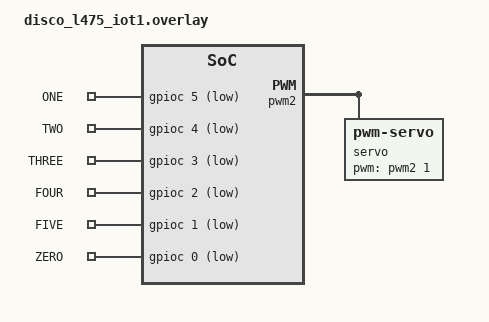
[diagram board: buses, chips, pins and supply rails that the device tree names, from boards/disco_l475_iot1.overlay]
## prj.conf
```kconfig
CONFIG_STDOUT_CONSOLE=y
CONFIG_PRINTK=y
CONFIG_PWM=y
CONFIG_GPIO=y
```

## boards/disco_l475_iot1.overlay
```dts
/* Define a PWM servo device using pwm2 channel 1 */
&pwm2 {
    servo: servo {
        compatible = "pwm-servo";
        pwms = <&pwm2 1 PWM_MSEC(20) PWM_POLARITY_NORMAL>; /* Channel 1, 20ms period (50Hz) */
        min-pulse = <PWM_USEC(700)>;
        max-pulse = <PWM_USEC(2500)>;
        label = "servo";
    };
};

/ {
    gpio_pins {
        compatible = "gpio-keys";
        status = "okay";

        one_pin: one {
            gpios = <&gpioc 5 GPIO_ACTIVE_LOW>;  // GPIO4 for TRIG
            label = "ONE";
        };

        two_pin: two {
            gpios = <&gpioc 4 GPIO_ACTIVE_LOW>;  // GPIO5 for ECHO
            label = "TWO";
        };

        three_pin: three {
            gpios = <&gpioc 3 GPIO_ACTIVE_LOW>;  // GPIO4 for TRIG
            label = "THREE";
        };

        four_pin: four {
            gpios = <&gpioc 2 GPIO_ACTIVE_LOW>;  // GPIO5 for ECHO
            label = "FOUR";
        };

        five_pin: five {
            gpios = <&gpioc 1 GPIO_ACTIVE_LOW>;  // GPIO4 for TRIG
            label = "FIVE";
        };

        zero_pin: zero {
            gpios = <&gpioc 0 GPIO_ACTIVE_LOW>;  // GPIO5 for ECHO
            label = "ZERO";
        };
    };

    aliases {
        one = &one_pin;
        two = &two_pin;
        three = &three_pin;
        four = &four_pin;
        five = &five_pin;
        zero = &zero_pin;
    };
};
```

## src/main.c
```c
/*
 * Copyright (c) 2016 Intel Corporation
 *
 * SPDX-License-Identifier: Apache-2.0
 */

/**
 * @file Sample app to demonstrate PWM-based servomotor control
 */

#include <zephyr/kernel.h>
#include <zephyr/sys/printk.h>
#include <zephyr/device.h>
#include <zephyr/drivers/pwm.h>
#include <zephyr/drivers/gpio.h>

static const struct pwm_dt_spec servo = PWM_DT_SPEC_GET(DT_NODELABEL(servo));
static const uint32_t min_pulse = DT_PROP(DT_NODELABEL(servo), min_pulse);
static const uint32_t max_pulse = DT_PROP(DT_NODELABEL(servo), max_pulse);

#define PWM_PERIOD PWM_MSEC(20)

enum direction {
    LEFT,
    RIGHT
};

#define PIN_ZERO 3
#define PIN_ONE 4
#define PIN_TWO 5
#define GPIO_NODE DT_NODELABEL(gpioc)

static int read_speed_level(const struct device *gpio_dev) {
    if (!gpio_pin_get(gpio_dev, PIN_ZERO) && !gpio_pin_get(gpio_dev, PIN_ONE) && !gpio_pin_get(gpio_dev, PIN_TWO)) {
        printk("Speed 0\n");
		return 0;
	}
    if (gpio_pin_get(gpio_dev, PIN_ZERO) && !gpio_pin_get(gpio_dev, PIN_ONE) && !gpio_pin_get(gpio_dev, PIN_TWO)) {
        printk("Speed 1\n");
        return 1;
    }
    if (!gpio_pin_get(gpio_dev, PIN_ZERO) && gpio_pin_get(gpio_dev, PIN_ONE) && !gpio_pin_get(gpio_dev, PIN_TWO)) {
        printk("Speed 2\n");
        return 2;
    }
    if (gpio_pin_get(gpio_dev, PIN_ZERO) && gpio_pin_get(gpio_dev, PIN_ONE) && !gpio_pin_get(gpio_dev, PIN_TWO)) {
        printk("Speed 3\n");
        return 3;
    }
    if (!gpio_pin_get(gpio_dev, PIN_ZERO) && !gpio_pin_get(gpio_dev, PIN_ONE) && gpio_pin_get(gpio_dev, PIN_TWO)) {
        printk("Speed 4\n");
        return 4;
    }
    if (gpio_pin_get(gpio_dev, PIN_ZERO) && !gpio_pin_get(gpio_dev, PIN_ONE) && gpio_pin_get(gpio_dev, PIN_TWO)) {
        printk("Speed 5\n");
        return 5;
    }
    if (gpio_pin_get(gpio_dev, PIN_ZERO) && gpio_pin_get(gpio_dev, PIN_ONE) && gpio_pin_get(gpio_dev, PIN_TWO)) {
        printk("None\n");
        return 0;
    }
    printk("Ruh Roh\n");
    return -1; // no button pressed
}

int main(void)
{
    if (!pwm_is_ready_dt(&servo)) {
        printk("Error: PWM device %s is not ready\n", servo.dev->name);
        return 0;
    }

    const struct device *gpio_dev = DEVICE_DT_GET(GPIO_NODE);
    if (!device_is_ready(gpio_dev)) {
        printk("Error: GPIO device not ready\n");
        return 1;
    }

    gpio_pin_configure(gpio_dev, PIN_ZERO, GPIO_INPUT);
    gpio_pin_configure(gpio_dev, PIN_ONE, GPIO_INPUT);
    gpio_pin_configure(gpio_dev, PIN_TWO, GPIO_INPUT);

    uint32_t pulse = min_pulse;
    int speed = 0;
    int ret;
    printk("Servo continuous control started\n");

    while (1) {
        speed = read_speed_level(gpio_dev);

        if (speed == 0) {
            k_sleep(K_MSEC(200));
            continue;
        }

        uint32_t step_size = (max_pulse - min_pulse) / (20 - (speed * 3));
        pulse += step_size;
        if (pulse > max_pulse) {
            pulse = min_pulse;
        }

        ret = pwm_set_dt(&servo, PWM_PERIOD, pulse);
        if (ret < 0) {
            printk("PWM error: %d\n", ret);
        } else {
            printk("Speed %d -> pulse %u\n", speed, pulse);
        }

        k_sleep(K_MSEC(50));
    }

    return 0;
}
```
